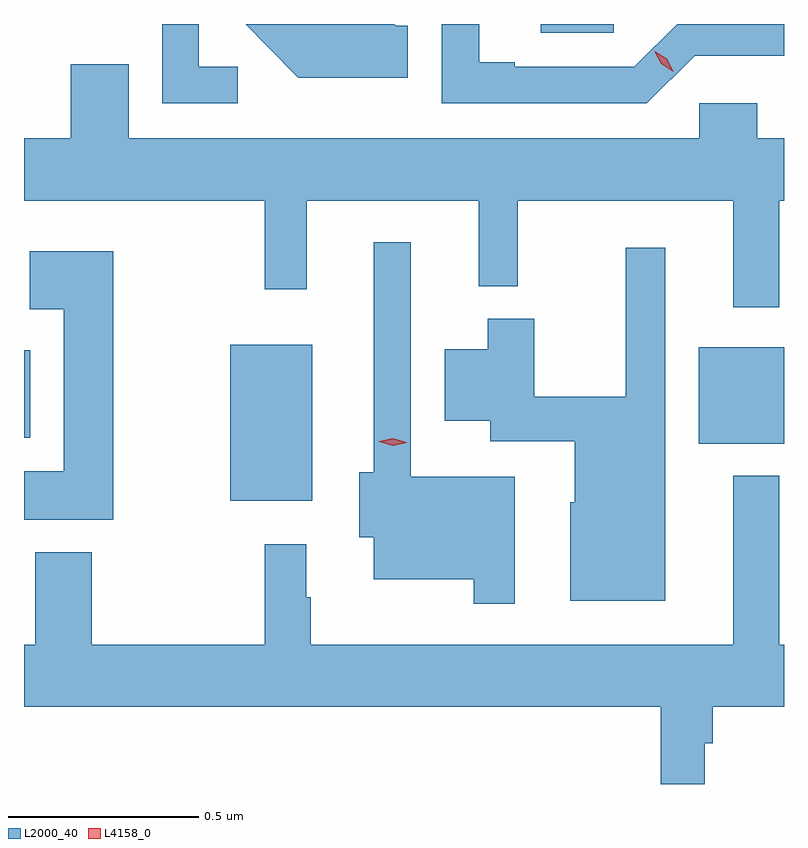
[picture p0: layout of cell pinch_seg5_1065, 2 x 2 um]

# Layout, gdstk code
import gdstk
lib = gdstk.Library(unit=1e-6, precision=1e-09)
def R(c, l, rs):  # rectangles x0, y0, x1, y1
    for r in rs: c.add(gdstk.rectangle(r[:2], r[2:], *l))
def P(c, l, *ps):  # polygons
    for p in ps: c.add(gdstk.Polygon(p, *l))
L2000_40 = (2000, 40)
L4158_0 = (4158, 0)

pinch_seg5_1065 = lib.new_cell('pinch_seg5_1065')
R(pinch_seg5_1065, L2000_40, [(743.222,839.987,743.437,840.397), (744.455,840.137,744.679,840.391), (742.679,840.152,742.696,840.382), (744.039,841.218,744.231,841.241)])
P(pinch_seg5_1065, L2000_40, [(743.242,841.128),(743.139,841.128),(743.139,841.241),(743.043,841.241),(743.043,841.032),(743.242,841.032)],
  [(744.444,841.158),(744.666,841.158),(744.666,841.157),(744.679,841.157),(744.679,841.241),(744.398,841.241),(744.285,841.128),(743.971,841.128),(743.971,841.141),(743.877,841.141),(743.877,841.241),(743.778,841.241),(743.778,841.032),(744.318,841.032)],
  [(743.689,841.236),(743.658,841.236),(743.653,841.241),(743.262,841.241),(743.321,841.181),(743.401,841.1),(743.689,841.1)],
  [(744.667,840.776),(744.679,840.776),(744.679,840.94),(744.608,840.94),(744.608,841.033),(744.456,841.033),(744.456,840.94),(742.954,840.94),(742.954,841.135),(742.802,841.135),(742.802,840.94),(742.679,840.94),(742.679,840.776),(743.313,840.776),(743.313,840.543),(743.423,840.543),(743.423,840.776),(743.876,840.776),(743.876,840.551),(743.978,840.551),(743.978,840.776),(744.545,840.776),(744.545,840.495),(744.667,840.495)],
  [(743.97,840.049),(743.697,840.049),(743.697,840.667),(743.6,840.667),(743.6,840.062),(743.561,840.062),(743.561,839.891),(743.6,839.891),(743.6,839.78),(743.862,839.78),(743.862,839.715),(743.97,839.715)],
  [(744.367,840.652),(744.263,840.652),(744.263,840.26),(744.022,840.26),(744.022,840.466),(743.9,840.466),(743.9,840.385),(743.786,840.385),(743.786,840.197),(743.906,840.197),(743.906,840.143),(744.128,840.143),(744.128,839.982),(744.116,839.982),(744.116,839.723),(744.367,839.723)],
  [(742.914,840.643),(742.694,840.643),(742.694,840.491),(742.784,840.491),(742.784,840.064),(742.679,840.064),(742.679,839.936),(742.914,839.936)],
  [(744.471,839.348),(744.491,839.348),(744.491,839.444),(744.679,839.444),(744.679,839.608),(744.667,839.608),(744.667,840.052),(744.545,840.052),(744.545,839.608),(743.434,839.608),(743.434,839.732),(743.422,839.732),(743.422,839.872),(743.313,839.872),(743.313,839.608),(742.857,839.608),(742.857,839.851),(742.709,839.851),(742.709,839.608),(742.679,839.608),(742.679,839.444),(744.355,839.444),(744.355,839.241),(744.471,839.241)])
P(pinch_seg5_1065, L4158_0, [(744.388,841.116),(744.356,841.136),(744.339,841.168),(744.339,841.169),(744.339,841.169),(744.371,841.149),(744.388,841.117),(744.388,841.116)],
  [(743.649,840.131),(743.614,840.142),(743.614,840.143),(743.614,840.143),(743.65,840.151),(743.686,840.14),(743.686,840.139),(743.686,840.139)])

lib.write_gds('pinch_seg5_1065.gds')
